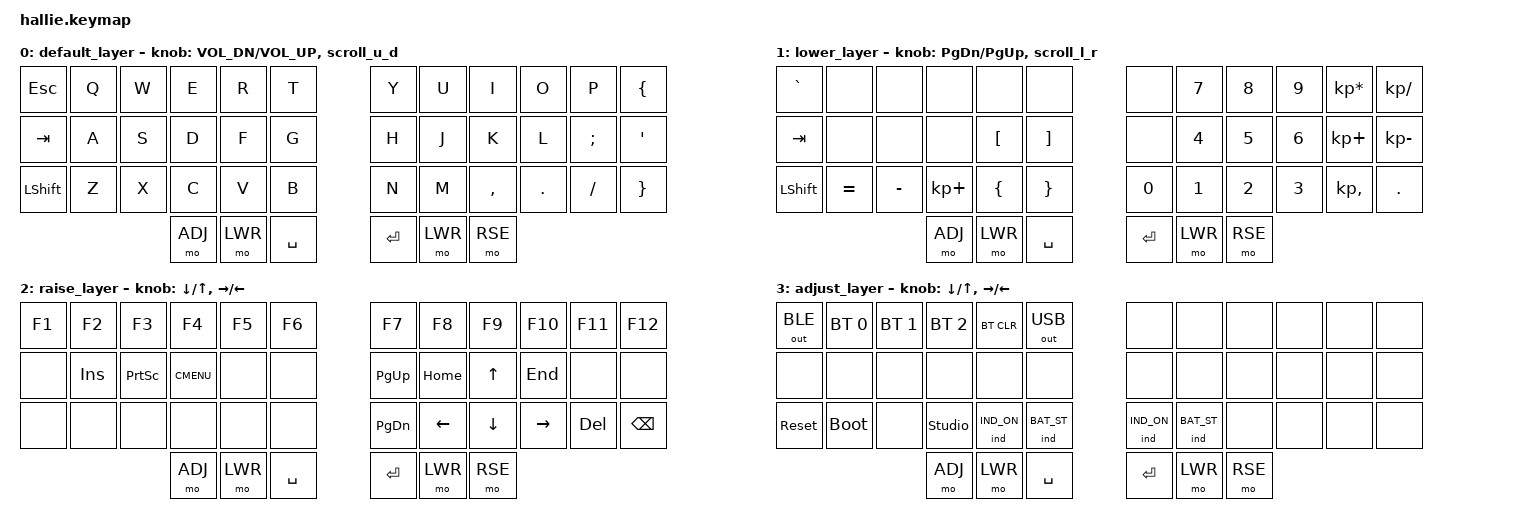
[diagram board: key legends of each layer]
#undef ZMK_BEHAVIORS_KEEP_ALL

#define ZMK_BEHAVIORS_KEEP_IND
#define ZMK_BEHAVIORS_KEEP_BT
#define ZMK_BEHAVIORS_KEEP_GRESC
#define ZMK_BEHAVIORS_KEEP_SYS_RESET
#define ZMK_BEHAVIORS_KEEP_BOOTLOADER
#define ZMK_BEHAVIORS_KEEP_CAPS_WORD
#define ZMK_BEHAVIORS_KEEP_KEY_REPEAT
#define ZMK_BEHAVIORS_KEEP_KT
#define ZMK_BEHAVIORS_KEEP_LT
#define ZMK_BEHAVIORS_KEEP_MT
#define ZMK_BEHAVIORS_KEEP_SK
#define ZMK_BEHAVIORS_KEEP_STICKY_LAYER

#define ZMK_BEHAVIORS_KEEP_TO
#define ZMK_BEHAVIORS_KEEP_TOG
#define ZMK_BEHAVIORS_KEEP_TRANS

#include <behaviors.dtsi>
#include <dt-bindings/zmk/keys.h>
#include <dt-bindings/zmk/bt.h>
#include <dt-bindings/zmk/ext_power.h>
#include <dt-bindings/zmk/rgb.h>
#include <dt-bindings/zmk/outputs.h>
#include <dt-bindings/zmk/indicators.h>
#include <dt-bindings/zmk/pointing.h>

#define DEF 0
#define LWR 1
#define RSE 2
#define ADJ 3

&lt { quick_tap_ms = <200>; };
&mt { quick_tap_ms = <200>; };

/ {
        keymap {
                compatible = "zmk,keymap";

                default_layer {
                        bindings = <
                                &kp ESC         &kp Q   &kp W     &kp E     &kp R     &kp T             &kp Y       &kp U      &kp I      &kp O    &kp P      &kp LEFT_BRACE
                                &kp TAB         &kp A   &kp S     &kp D     &kp F     &kp G             &kp H       &kp J      &kp K      &kp L    &kp SEMI   &kp SQT
                                &kp LSHFT       &kp Z   &kp X     &kp C     &kp V     &kp B             &kp N       &kp M      &kp COMMA  &kp DOT  &kp SLASH  &kp RIGHT_BRACE
                                                                  &mo ADJ   &mo LWR   &kp SPACE         &kp ENTER   &mo LWR    &mo RSE
                        >;

                        sensor-bindings = <&inc_dec_kp C_VOL_DN C_VOL_UP &scroll_u_d>;
                        // sensor-bindings = <&scroll_u_d &inc_dec_kp C_VOL_DN C_VOL_UP>;
                };

                lower_layer {
                        bindings = <
                                &kp GRAVE       &none           &none           &none           &none           &none              &none        &kp N7     &kp N8       &kp N9    &kp KP_MULTIPLY       &kp KP_DIVIDE
                                &kp TAB         &none           &none           &none           &kp LBKT        &kp RBKT           &none        &kp N4     &kp N5       &kp N6    &kp KP_PLUS           &kp KP_MINUS
                                &kp LSHFT       &kp EQUAL       &kp MINUS       &kp KP_PLUS     &kp LBRC        &kp RBRC           &kp N0       &kp N1     &kp N2       &kp N3    &kp KP_COMMA          &kp DOT
                                                                                &mo ADJ         &mo LWR         &kp SPACE          &kp ENTER    &mo LWR    &mo RSE
                        >;

                        sensor-bindings = <&inc_dec_kp PG_DN PG_UP &scroll_l_r>;
                };

                raise_layer {
                        bindings = <
                                &kp F1      &kp F2      &kp F3     &kp F4       &kp F5       &kp F6            &kp F7     &kp F8     &kp F9     &kp F10    &kp F11  &kp F12
                                &none       &kp INS     &kp PSCRN  &kp K_CMENU  &none        &none             &kp PG_UP  &kp HOME   &kp UP     &kp END    &none    &none
                                &none       &none       &none      &none        &none        &none             &kp PG_DN  &kp LEFT   &kp DOWN   &kp RIGHT  &kp DEL  &kp BSPC
                                                                   &mo ADJ   &mo LWR   &kp SPACE         &kp ENTER   &mo LWR    &mo RSE
                        >;

                        sensor-bindings = <&inc_dec_kp DOWN_ARROW UP_ARROW &inc_dec_kp RIGHT_ARROW LEFT_ARROW>;
                };
                adjust_layer {
                        bindings = <
                                &out OUT_BLE   &bt BT_SEL 0  &bt BT_SEL 1  &bt BT_SEL 2   &bt BT_CLR  &out OUT_USB       &none       &none         &none      &none      &none    &none
                                &none          &none         &none         &none          &none       &none              &none       &none         &none      &none      &none    &none
                                &sys_reset     &bootloader   &none         &studio_unlock &ind IND_ON &ind BAT_ST        &ind IND_ON &ind BAT_ST   &none      &none      &none    &none
                                                                           &mo ADJ   &mo LWR   &kp SPACE         &kp ENTER   &mo LWR    &mo RSE
                        >;

                        sensor-bindings = <&inc_dec_kp DOWN_ARROW UP_ARROW &inc_dec_kp RIGHT_ARROW LEFT_ARROW>;
                };

                extra1 {
                        status = "reserved";
                };

                extra2 {
                        status = "reserved";
                };

                extra3 {
                        status = "reserved";
                };

                extra4 {
                        status = "reserved";
                };
        };
};
